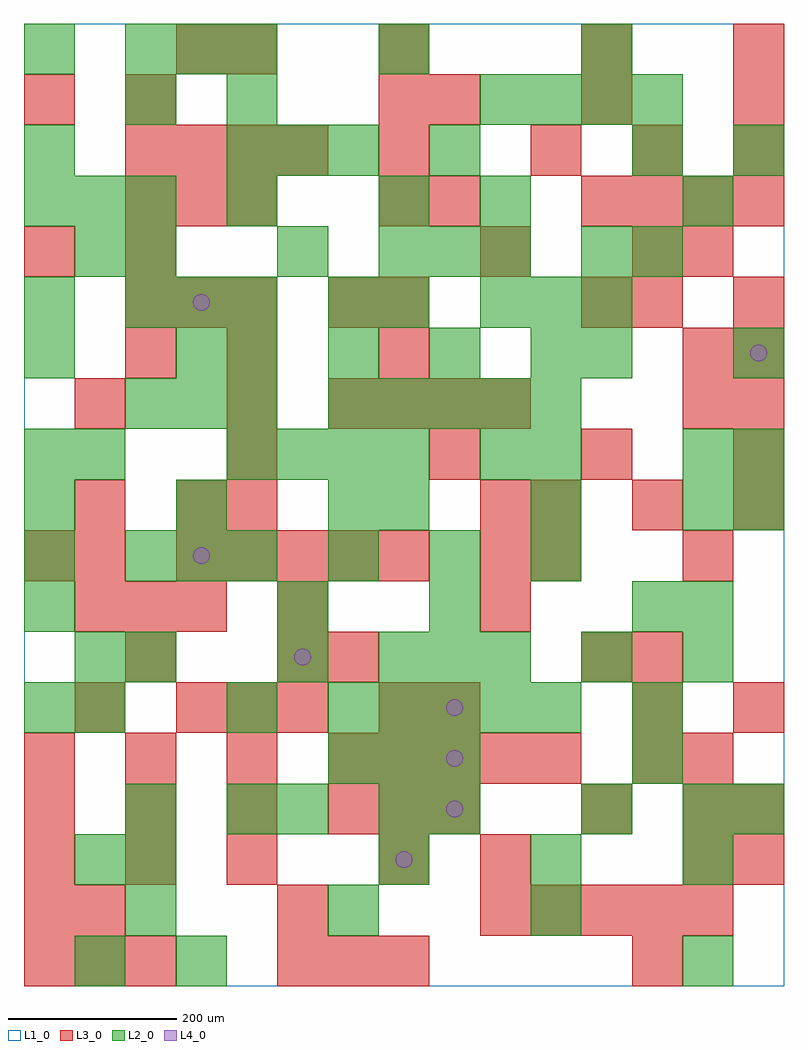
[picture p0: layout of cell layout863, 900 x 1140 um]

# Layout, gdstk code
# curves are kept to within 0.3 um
import gdstk
lib = gdstk.Library(unit=1e-6, precision=1e-09)
def R(c, l, rs):  # rectangles x0, y0, x1, y1
    for r in rs: c.add(gdstk.rectangle(r[:2], r[2:], *l))
def A(c, l, x, y, w, h, nx, ny, dx, dy):  # array of equal rectangles
    R(c, l, [(x+i*dx, y+j*dy, x+i*dx+w, y+j*dy+h) for i in range(nx) for j in range(ny)])
def P(c, l, *ps):  # polygons
    for p in ps: c.add(gdstk.Polygon(p, *l))
L1_0 = (1, 0)
L2_0 = (2, 0)
L3_0 = (3, 0)
L4_0 = (4, 0)

layout863 = lib.new_cell('layout863')
R(layout863, L1_0, [(0,0,900,1140)])
A(layout863, L2_0, 780, 0, 60, 60, 1, 3, 0, 180)
A(layout863, L2_0, 120, 60, 60, 60, 3, 1, 240, 0)
A(layout863, L2_0, 420, 120, 60, 60, 3, 2, 180, 420)
A(layout863, L2_0, 360, 240, 60, 60, 3, 1, 60, 0)
A(layout863, L2_0, 360, 300, 60, 60, 5, 2, 60, 360)
A(layout863, L2_0, 60, 360, 60, 60, 1, 3, 0, 240)
A(layout863, L2_0, 420, 360, 60, 60, 3, 2, 60, 480)
A(layout863, L2_0, 0, 480, 60, 60, 1, 3, 0, 120)
A(layout863, L2_0, 120, 480, 60, 60, 3, 2, 60, 180)
A(layout863, L2_0, 360, 480, 60, 60, 3, 1, 120, 0)
A(layout863, L2_0, 0, 540, 60, 60, 3, 1, 180, 0)
A(layout863, L2_0, 240, 600, 60, 60, 4, 1, 60, 0)
A(layout863, L2_0, 240, 720, 60, 60, 4, 1, 120, 0)
A(layout863, L2_0, 120, 780, 60, 60, 3, 2, 60, 300)
A(layout863, L2_0, 540, 780, 60, 60, 3, 1, 60, 0)
A(layout863, L2_0, 0, 900, 60, 60, 3, 1, 60, 0)
A(layout863, L2_0, 240, 960, 60, 60, 3, 1, 60, 0)
A(layout863, L2_0, 540, 1020, 60, 60, 4, 1, 60, 0)
R(layout863, L2_0, [(60,0,120,60), (180,0,240,60), (60,120,120,180), (120,120,180,180), (120,180,180,240), (240,180,300,240), (300,180,360,240), (420,180,480,240), (480,180,540,240), (660,180,720,240), (840,180,900,240), (720,240,780,300), (0,300,60,360), (60,300,120,360), (240,300,300,360), (720,300,780,360), (120,360,180,420), (300,360,360,420), (660,360,720,420), (0,420,60,480), (300,420,360,480), (480,420,540,480), (720,420,780,480), (780,420,840,480), (840,540,900,600), (540,600,600,660), (600,600,660,660), (780,600,840,660), (840,600,900,660), (180,720,240,780), (660,720,720,780), (840,720,900,780), (0,780,60,840), (360,780,420,840), (420,780,480,840), (120,840,180,900), (300,840,360,900), (660,840,720,900), (720,840,780,900), (240,900,300,960), (420,900,480,960), (540,900,600,960), (780,900,840,960), (0,960,60,1020), (480,960,540,1020), (720,960,780,1020), (840,960,900,1020), (120,1020,180,1080), (240,1020,300,1080), (0,1080,60,1140), (420,1080,480,1140), (660,1080,720,1140)])
A(layout863, L3_0, 0, 0, 60, 60, 3, 1, 60, 0)
A(layout863, L3_0, 300, 0, 60, 60, 3, 1, 60, 0)
A(layout863, L3_0, 60, 60, 60, 60, 3, 1, 240, 0)
A(layout863, L3_0, 600, 60, 60, 60, 4, 1, 60, 0)
A(layout863, L3_0, 0, 120, 60, 60, 3, 1, 120, 0)
A(layout863, L3_0, 780, 120, 60, 60, 1, 3, 0, 60)
A(layout863, L3_0, 0, 180, 60, 60, 4, 2, 120, 60)
A(layout863, L3_0, 420, 240, 60, 60, 4, 1, 60, 0)
A(layout863, L3_0, 720, 240, 60, 60, 1, 3, 0, 60)
A(layout863, L3_0, 180, 300, 60, 60, 3, 1, 60, 0)
A(layout863, L3_0, 60, 420, 60, 60, 3, 1, 60, 0)
A(layout863, L3_0, 540, 420, 60, 60, 1, 3, 0, 60)
A(layout863, L3_0, 180, 480, 60, 60, 5, 1, 60, 0)
A(layout863, L3_0, 240, 540, 60, 60, 1, 4, 0, 60)
A(layout863, L3_0, 600, 540, 60, 60, 3, 2, 120, 420)
A(layout863, L3_0, 480, 600, 60, 60, 3, 2, 180, 420)
A(layout863, L3_0, 360, 660, 60, 60, 4, 1, 60, 0)
A(layout863, L3_0, 840, 660, 60, 60, 1, 3, 0, 60)
A(layout863, L3_0, 120, 780, 60, 60, 3, 2, 60, 120)
A(layout863, L3_0, 420, 900, 60, 60, 1, 4, 0, 60)
A(layout863, L3_0, 660, 900, 60, 60, 4, 1, 60, 0)
A(layout863, L3_0, 120, 960, 60, 60, 4, 1, 60, 0)
R(layout863, L3_0, [(720,0,780,60), (0,60,60,120), (420,120,480,180), (540,120,600,180), (840,120,900,180), (420,180,480,240), (480,180,540,240), (660,180,720,240), (840,180,900,240), (60,300,120,360), (420,300,480,360), (480,300,540,360), (840,300,900,360), (120,360,180,420), (300,360,360,420), (360,360,420,420), (660,360,720,420), (300,420,360,480), (0,480,60,540), (60,480,120,540), (600,480,660,540), (780,480,840,540), (60,540,120,600), (180,540,240,600), (60,660,120,720), (780,660,840,720), (120,720,180,780), (420,720,480,780), (780,720,840,780), (360,780,420,840), (420,780,480,840), (660,780,720,840), (720,780,780,840), (0,840,60,900), (120,840,180,900), (540,840,600,900), (720,840,780,900), (780,840,840,900), (480,900,540,960), (0,1020,60,1080), (120,1020,180,1080), (180,1080,240,1140), (240,1080,300,1140), (660,1080,720,1140), (840,1080,900,1140)])
P(layout863, L4_0, [(220,510),(219.239,513.827),(217.071,517.071),(213.827,519.239),(210,520),(206.173,519.239),(202.929,517.071),(200.761,513.827),(200,510),(200.761,506.173),(202.929,502.929),(206.173,500.761),(210,500),(213.827,500.761),(217.071,502.929),(219.239,506.173)],
  [(220,810),(219.239,813.827),(217.071,817.071),(213.827,819.239),(210,820),(206.173,819.239),(202.929,817.071),(200.761,813.827),(200,810),(200.761,806.173),(202.929,802.929),(206.173,800.761),(210,800),(213.827,800.761),(217.071,802.929),(219.239,806.173)],
  [(340,390),(339.239,393.827),(337.071,397.071),(333.827,399.239),(330,400),(326.173,399.239),(322.929,397.071),(320.761,393.827),(320,390),(320.761,386.173),(322.929,382.929),(326.173,380.761),(330,380),(333.827,380.761),(337.071,382.929),(339.239,386.173)],
  [(460,150),(459.239,153.827),(457.071,157.071),(453.827,159.239),(450,160),(446.173,159.239),(442.929,157.071),(440.761,153.827),(440,150),(440.761,146.173),(442.929,142.929),(446.173,140.761),(450,140),(453.827,140.761),(457.071,142.929),(459.239,146.173)],
  [(520,210),(519.239,213.827),(517.071,217.071),(513.827,219.239),(510,220),(506.173,219.239),(502.929,217.071),(500.761,213.827),(500,210),(500.761,206.173),(502.929,202.929),(506.173,200.761),(510,200),(513.827,200.761),(517.071,202.929),(519.239,206.173)],
  [(520,270),(519.239,273.827),(517.071,277.071),(513.827,279.239),(510,280),(506.173,279.239),(502.929,277.071),(500.761,273.827),(500,270),(500.761,266.173),(502.929,262.929),(506.173,260.761),(510,260),(513.827,260.761),(517.071,262.929),(519.239,266.173)],
  [(520,330),(519.239,333.827),(517.071,337.071),(513.827,339.239),(510,340),(506.173,339.239),(502.929,337.071),(500.761,333.827),(500,330),(500.761,326.173),(502.929,322.929),(506.173,320.761),(510,320),(513.827,320.761),(517.071,322.929),(519.239,326.173)],
  [(880,750),(879.239,753.827),(877.071,757.071),(873.827,759.239),(870,760),(866.173,759.239),(862.929,757.071),(860.761,753.827),(860,750),(860.761,746.173),(862.929,742.929),(866.173,740.761),(870,740),(873.827,740.761),(877.071,742.929),(879.239,746.173)])

lib.write_gds('layout863.gds')
